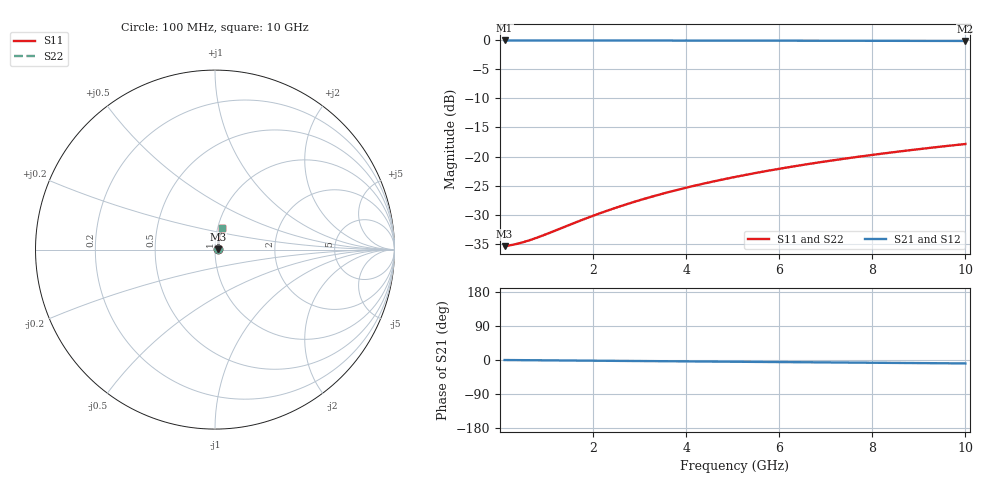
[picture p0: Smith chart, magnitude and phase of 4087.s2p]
# Hz S RI R 50.00
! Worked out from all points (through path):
!   100 points, 100 MHz to 10 GHz, reference 50 ohm
!   highest |S21| = -0.15 dB at 100 MHz (marker M1); lowest = -0.2 dB at 10 GHz (marker M2)
!   group delay of S21, straight-line fit = 2.51 ps
!   lowest |S11| = -35.3 dB at 100 MHz (marker M3), VSWR 1.03, Z = 51.7 + j0.129 ohm
!   |S11| at or under -10 dB: start of sweep to end of sweep
!   |S22| runs from -35.3 to -17.9 dB; largest |S21 - S12| = 0
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1e8  0.0171 0.00125  0.9829 -0.00156  0.9829 -0.00156  0.0171 0.00125
3e8  0.0173 0.00375  0.9827 -0.00467  0.9827 -0.00467  0.0173 0.00375
4e8  0.0174 0.005  0.9826 -0.00622  0.9826 -0.00622  0.0174 0.005
5e8  0.0174 0.00625  0.9826 -0.00778  0.9826 -0.00778  0.0174 0.00625
7e8  0.0176 0.00875  0.9824 -0.0109  0.9824 -0.0109  0.0176 0.00875
1e9  0.0178 0.0125  0.9822 -0.0156  0.9822 -0.0156  0.0178 0.0125
1.8e9  0.0184 0.0225  0.9815 -0.028  0.9815 -0.028  0.0184 0.0225
2.2e9  0.0188 0.0274  0.9811 -0.0342  0.9811 -0.0342  0.0188 0.0274
2.6e9  0.0193 0.0324  0.9807 -0.0404  0.9807 -0.0404  0.0193 0.0324
3e9  0.0198 0.0374  0.9802 -0.0466  0.9802 -0.0466  0.0198 0.0374
3.4e9  0.0203 0.0423  0.9796 -0.0527  0.9796 -0.0527  0.0203 0.0423
3.8e9  0.021 0.0473  0.979 -0.0589  0.979 -0.0589  0.021 0.0473
4.2e9  0.0216 0.0522  0.9783 -0.0651  0.9783 -0.0651  0.0216 0.0522
4.6e9  0.0224 0.0572  0.9775 -0.0712  0.9775 -0.0712  0.0224 0.0572
5.1e9  0.0234 0.0633  0.9765 -0.0789  0.9765 -0.0789  0.0234 0.0633
5.5e9  0.0242 0.0682  0.9756 -0.085  0.9756 -0.085  0.0242 0.0682
5.9e9  0.0252 0.0731  0.9746 -0.0912  0.9746 -0.0912  0.0252 0.0731
6.7e9  0.0272 0.0828  0.9725 -0.1033  0.9725 -0.1033  0.0272 0.0828
7.5e9  0.0295 0.0925  0.9702 -0.1155  0.9702 -0.1155  0.0295 0.0925
8.4e9  0.0323 0.1032  0.9673 -0.129  0.9673 -0.129  0.0323 0.1032
9.2e9  0.0351 0.1127  0.9644 -0.141  0.9644 -0.141  0.0351 0.1127
1e10  0.0381 0.1221  0.9614 -0.1528  0.9614 -0.1528  0.0381 0.1221
